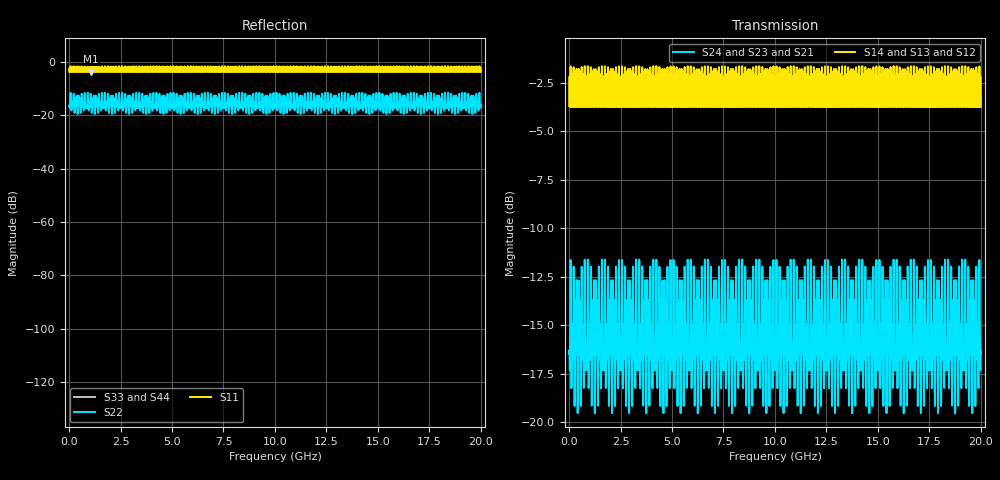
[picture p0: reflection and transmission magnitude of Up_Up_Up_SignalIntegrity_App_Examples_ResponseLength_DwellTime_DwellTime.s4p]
! File created by SignalIntegrity v1.1.9: Signal and Power Integrity Tools
! https://github.com/TeledyneLeCroy/SignalIntegrity
# MHz MA S R 50.0
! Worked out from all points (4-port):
!   8000 points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, 2.5 MHz to 20 GHz, reference 50 ohm
!   strongest paths, dB at 2.5 MHz, 5.003 GHz, 10 GHz, 15 GHz, 20 GHz:
!     S14: -3.7, -3.7, -3.7, -3.7, -3.7
!     S13: -3.7, -3.7, -3.7, -3.7, -3.7
!     S12: -3.7, -3.7, -3.7, -3.7, -3.7
!     S24: -16.5, -16.5, -16.5, -16.5, -16.5
!     S23: -16.5, -16.5, -16.5, -16.5, -16.5
!     S21: -16.5, -16.5, -16.5, -16.5, -16.5
!   lowest |S11| = -3.8 dB at 1.08 GHz (marker M1), VSWR 4.69, Z = 234 - j10.9 ohm
!   |S11| at or under -10 dB: nowhere
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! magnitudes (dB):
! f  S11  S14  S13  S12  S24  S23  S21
! 2.5 MHz  -3.7  -3.7  -3.7  -3.7  -16.5  -16.5  -16.5
! 1.08 GHz  -3.8  -3.8  -3.8  -3.8  -16.1  -16.1  -16.1
! 17.99 GHz  -3.7  -3.7  -3.7  -3.7  -16.4  -16.4  -16.4
! 18.33 GHz  -3.7  -3.7  -3.7  -3.7  -16.5  -16.5  -16.5
! 18.82 GHz  -3.7  -3.7  -3.7  -3.7  -16.4  -16.4  -16.4
! 19.17 GHz  -3.7  -3.7  -3.7  -3.7  -16.5  -16.5  -16.5
! 20 GHz  -3.7  -3.7  -3.7  -3.7  -16.5  -16.5  -16.5
